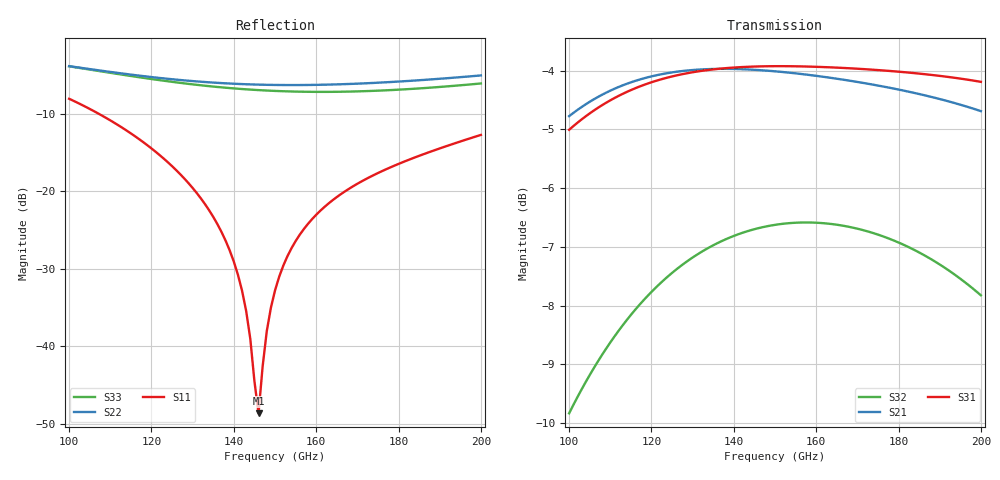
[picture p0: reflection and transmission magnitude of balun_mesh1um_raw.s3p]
#  GHZ S DB R 50.0
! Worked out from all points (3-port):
!   101 points, 100 GHz to 200 GHz, reference 50 ohm
!   strongest paths, dB at 100 GHz, 125 GHz, 150 GHz, 175 GHz, 200 GHz:
!     S31: -5.0, -4.1, -3.9, -4.0, -4.2
!     S21: -4.8, -4.0, -4.0, -4.3, -4.7
!     S32: -9.8, -7.4, -6.6, -6.8, -7.8
!   lowest |S11| = -48.7 dB at 146 GHz (marker M1), VSWR 1.01, Z = 49.6 + j0.0515 ohm
!   |S11| at or under -10 dB: 107.1 GHz to end of sweep
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100  -8.07 124.9  -4.78 -13.0  -5.01 163.4
     -4.78 -13.0  -3.87 59.0  -9.83 89.9
     -5.01 163.4  -9.83 89.9  -3.89 49.4
121  -14.91 95.1  -4.08 -45.2  -4.18 129.4
     -4.08 -45.2  -5.33 41.1  -7.70 58.8
     -4.18 129.4  -7.70 58.8  -5.60 28.5
135  -23.32 80.9  -3.97 -64.6  -3.98 108.8
     -3.97 -64.6  -5.99 31.2  -6.97 39.8
     -3.98 108.8  -6.97 39.8  -6.50 17.2
142  -32.85 80.1  -3.98 -73.8  -3.94 99.0
     -3.98 -73.8  -6.18 26.5  -6.76 30.7
     -3.94 99.0  -6.76 30.7  -6.82 12.0
146  -48.68 171.9  -3.99 -78.9  -3.93 93.5
     -3.99 -78.9  -6.25 23.8  -6.68 25.6
     -3.93 93.5  -6.68 25.6  -6.96 9.2
148  -38.08 -130.8  -4.00 -81.5  -3.93 90.8
     -4.00 -81.5  -6.28 22.5  -6.65 23.1
     -3.93 90.8  -6.65 23.1  -7.01 7.7
150  -32.82 -124.8  -4.01 -84.0  -3.93 88.1
     -4.01 -84.0  -6.29 21.1  -6.62 20.6
     -3.93 88.1  -6.62 20.6  -7.06 6.3
155  -26.45 -124.0  -4.05 -90.2  -3.93 81.5
     -4.05 -90.2  -6.31 17.7  -6.59 14.4
     -3.93 81.5  -6.59 14.4  -7.15 2.7
164  -21.17 -128.2  -4.13 -101.2  -3.95 69.8
     -4.13 -101.2  -6.23 11.1  -6.61 3.5
     -3.95 69.8  -6.61 3.5  -7.18 -3.8
200  -12.74 -147.5  -4.69 -144.8  -4.19 23.6
     -4.69 -144.8  -5.06 -20.0  -7.82 -39.8
     -4.19 23.6  -7.82 -39.8  -6.10 -34.6
